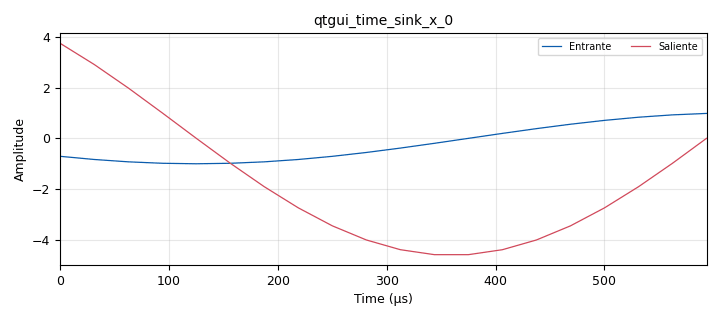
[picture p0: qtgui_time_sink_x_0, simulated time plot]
options:
  parameters:
    author: Bryan
    copyright: UIS
    description: ejemplo de un acumulador
    generate_options: qt_gui
    id: miprimer
    output_language: python
    title: miprimer
  states: {}

blocks:
- name: samp_rate
  id: variable
  parameters:
    value: '32000'
  states: {}
- name: analog_noise_source_x_0
  id: analog_noise_source_x
  parameters:
    amp: '1'
    noise_type: analog.GR_GAUSSIAN
    seed: '0'
    type: float
  states: {state: disabled}
- name: analog_sig_source_x_0
  id: analog_sig_source_x
  parameters:
    amp: '1'
    freq: '1000'
    offset: '0'
    phase: '0'
    samp_rate: samp_rate
    type: float
    waveform: analog.GR_COS_WAVE
  states: {}
- name: blocks_vector_source_x_0
  id: blocks_vector_source_x
  parameters:
    repeat: 'True'
    type: float
    vector: (1, 4, -2, -3)
  states: {state: disabled}
- name: epy_block_0
  id: epy_block
  parameters:
    _source_code: "import numpy as np\nfrom gnuradio import gr\n\n\nclass blk(gr.sync_block):  \n    \n\n    def __init__(self,):  \n        \"\"\"Bloque acumulador simplemente toma la senal entrante y entrega acumulada\"\"\"\n        gr.sync_block.__init__(\n            self,\n            name='Acumulador',   \n            in_sig=[np.float32],\n            out_sig=[np.float32]\n        )\n        self.acum_anterior=0\n        \n        \n    def work(self, input_items, output_items):\n        x=input_items[0]\n        y=output_items[0]\n        #N=len(x)\n        y[:]=self.acum_anterior+np.cumsum(x)\n        self.acum_anterior=y[-1]\n        return len(x)\n        \n\n"
  states: {}
- name: qtgui_time_sink_x_0
  id: qtgui_time_sink_x
  parameters:
    autoscale: 'True'
    label1: Entrante
    label2: Saliente
    nconnections: '2'
    size: '20'
    srate: samp_rate
    type: float
    width1: '4'
    width2: '2'
    ymax: '12'
    ymin: '-12'
  states: {}

connections:
- [analog_noise_source_x_0, '0', epy_block_0, '0']
- [analog_noise_source_x_0, '0', qtgui_time_sink_x_0, '0']
- [analog_sig_source_x_0, '0', epy_block_0, '0']
- [analog_sig_source_x_0, '0', qtgui_time_sink_x_0, '0']
- [blocks_vector_source_x_0, '0', epy_block_0, '0']
- [blocks_vector_source_x_0, '0', qtgui_time_sink_x_0, '0']
- [epy_block_0, '0', qtgui_time_sink_x_0, '1']

metadata:
  file_format: 1
